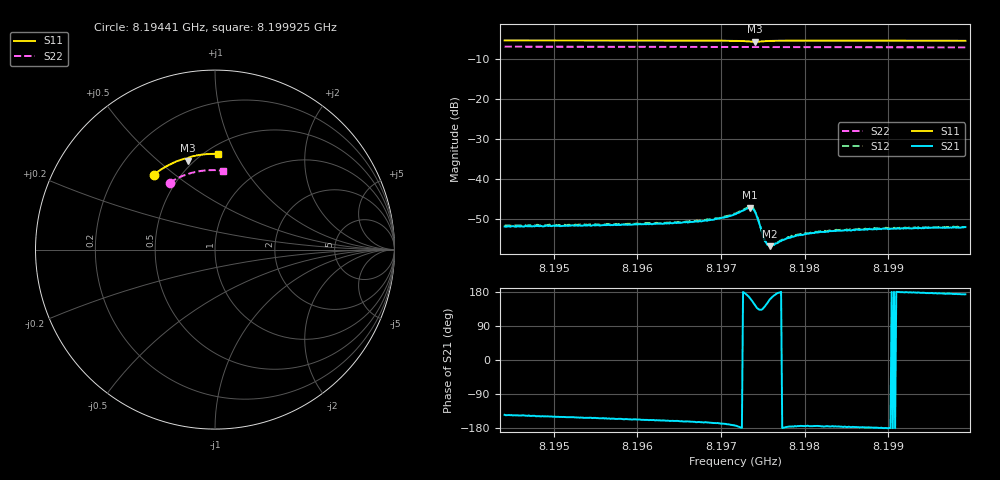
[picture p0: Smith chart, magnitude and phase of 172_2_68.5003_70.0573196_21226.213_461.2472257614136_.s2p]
#  HZ  S  RI  R  50.00
! Rohde & Schwarz Vector Network Analyzer
! Rohde-Schwarz,ZNB20-2Port,1311601062101988,3.16
! Created: UTC 3/20/2024, 5:11:23 PM
! freq[Hz]  re:S11  im:S11  re:S21  im:S21  re:S12  im:S12  re:S22  im:S22
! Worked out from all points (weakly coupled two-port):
!   401 points, 8.19441 GHz to 8.199925 GHz, reference 50 ohm
!   highest |S21| = -47.09 dB at 8.197347 GHz (marker M1); lowest = -56.7 dB at 8.197581 GHz (marker M2)
!   lowest |S11| = -5.7 dB at 8.197402 GHz (marker M3), VSWR 3.15, Z = 23.3 + j31.5 ohm
!   |S11| at or under -10 dB: nowhere
!   |S22| runs from -7.1 to -6.9 dB; largest |S21 - S12| = 0.00024
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8.1944099e9  -0.342 0.4157  -0.00211 -0.0015  -0.00224 -0.00146  -0.2521 0.3733
8.1953337e9  -0.2888 0.4536  -0.00234 -0.00124  -0.00246 -0.0012  -0.207 0.3987
8.1962575e9  -0.2309 0.4846  -0.00262 -0.001  -0.00267 -0.00088  -0.159 0.4186
8.1967538e9  -0.1974 0.4982  -0.00289 -0.000819  -0.003 -0.000744  -0.1325 0.4269
8.1969744e9  -0.1814 0.5033  -0.00317 -0.000729  -0.00322 -0.000619  -0.1203 0.43
8.1971675e9  -0.1656 0.5066  -0.00365 -0.000442  -0.00373 -0.000306  -0.1096 0.4324
8.1973053e9  -0.1524 0.5039  -0.00427 0.000552  -0.00433 0.000714  -0.1019 0.4339
8.1973467e9  -0.1497 0.5004  -0.00423 0.00128  -0.00429 0.00147  -0.0997 0.4343
8.1973743e9  -0.1497 0.4973  -0.00395 0.00183  -0.00395 0.00206  -0.0982 0.4345
8.1974019e9  -0.1513 0.4953  -0.00335 0.00225  -0.00331 0.00243  -0.0967 0.4347
8.1974294e9  -0.1542 0.4952  -0.00254 0.00232  -0.00255 0.00248  -0.0954 0.4349
8.1974984e9  -0.1566 0.5017  -0.00143 0.00146  -0.0014 0.00155  -0.0916 0.4358
8.1975259e9  -0.1554 0.5047  -0.00132 0.00105  -0.00131 0.00113  -0.0901 0.4363
8.1975535e9  -0.1535 0.507  -0.00132 0.000774  -0.00134 0.000827  -0.0887 0.4365
8.1975811e9  -0.1516 0.509  -0.00137 0.000519  -0.00139 0.000628  -0.0871 0.4369
8.1976225e9  -0.1483 0.5114  -0.00149 0.000318  -0.0015 0.000373  -0.0846 0.4372
8.1977603e9  -0.1374 0.5163  -0.00178 -6.22e-05  -0.0018 5.83e-06  -0.077 0.4386
8.1978844e9  -0.1278 0.5192  -0.00195 -0.000192  -0.002 -0.000121  -0.0701 0.4395
8.1980912e9  -0.1125 0.523  -0.00214 -0.000197  -0.0022 -0.000132  -0.0584 0.4408
8.1984084e9  -0.0898 0.5272  -0.00228 -0.000189  -0.00234 -5.35e-05  -0.0404 0.4423
8.199015e9  -0.0466 0.5321  -0.00241 -2.16e-05  -0.00244 8.89e-05  -0.00614 0.443
8.199925e9  0.018 0.5329  -0.00252 0.00029  -0.00252 0.000438  0.0456 0.4389
